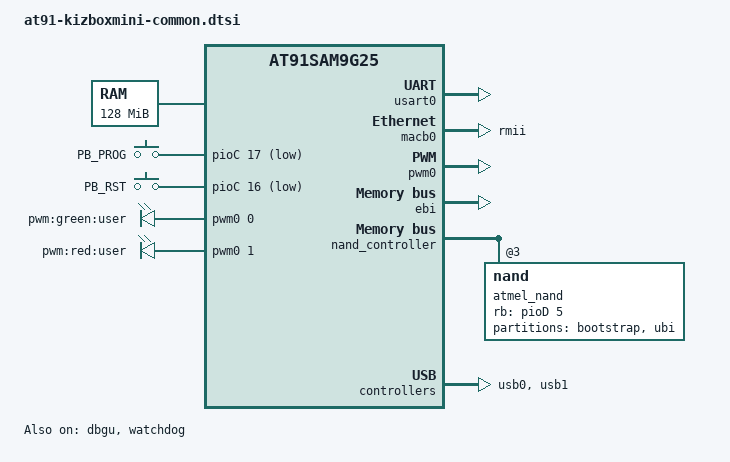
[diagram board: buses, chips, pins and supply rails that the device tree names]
// SPDX-License-Identifier: GPL-2.0
/*
 * at91-kizboxmini.dts - Device Tree file for Overkiz Kizbox mini board
 *
 * Copyright (C) 2014-2018 Overkiz SAS
 *   Author: Antoine Aubert <a.aubert@overkiz.com>
 *           Gaël Portay <g.portay@overkiz.com>
 *           Kévin Raymond <k.raymond@overkiz.com>
 *           Dorian Rocipon <d.rocipon@overkiz.com>
 */
#include "at91sam9g25.dtsi"

/ {
	chosen {
		bootargs = "ubi.mtd=ubi";
		stdout-path = &dbgu;
	};

	memory {
		reg = <0x20000000 0x8000000>;
	};

	clocks {
		main_xtal {
			clock-frequency = <12000000>;
		};

		slow_xtal {
			clock-frequency = <32768>;
		};

		adc_op_clk {
			status = "disabled";
		};
	};

	gpio_keys {
		compatible = "gpio-keys";
		#address-cells = <1>;
		#size-cells = <0>;

		prog {
			label = "PB_PROG";
			gpios = <&pioC 17 GPIO_ACTIVE_LOW>;
			linux,code = <0x102>;
			wakeup-source;
		};

		reset {
			label = "PB_RST";
			gpios = <&pioC 16 GPIO_ACTIVE_LOW>;
			linux,code = <0x100>;
			wakeup-source;
		};
	};

	leds: pwm_leds {
		compatible = "pwm-leds";

		led_blue: pwm_blue {
			label = "pwm:blue:user";
			pwms = <&pwm0 2 10000000 0>;
			max-brightness = <255>;
			linux,default-trigger = "none";
			status = "disabled";
		};

		led_green: pwm_green {
			label = "pwm:green:user";
			pwms = <&pwm0 0 10000000 0>;
			max-brightness = <255>;
			linux,default-trigger = "default-on";
		};

		led_red: pwm_red {
			label = "pwm:red:user";
			pwms = <&pwm0 1 10000000 0>;
			max-brightness = <255>;
			linux,default-trigger = "default-on";
		};
	};
};

&usart0 {
	atmel,use-dma-rx;
	atmel,use-dma-tx;
	status = "okay";
};

&macb0 {
	phy-mode = "rmii";
	status = "okay";
};

&pwm0 {
	pinctrl-names = "default";
	pinctrl-0 = <&pinctrl_pwm0_pwm0_1
		     &pinctrl_pwm0_pwm1_1
		     &pinctrl_pwm0_pwm2_1>;
	status = "okay";
};

&dbgu {
	status = "okay";
};

&watchdog {
	status = "okay";
};

&adc0 {
	status = "disabled";
};

&rtc {
	status = "disabled";
};

&ebi {
	pinctrl-0 = <&pinctrl_ebi_addr_nand
			&pinctrl_ebi_data_0_7>;
	pinctrl-names = "default";
	status = "okay";
};

&nand_controller {
	status = "okay";
	pinctrl-0 = <&pinctrl_nand_oe_we
		     &pinctrl_nand_cs
		     &pinctrl_nand_rb>;
	pinctrl-names = "default";

	nand@3 {
		reg = <0x3 0x0 0x800000>;
		rb-gpios = <&pioD 5 GPIO_ACTIVE_HIGH>;
		cs-gpios = <&pioD 4 GPIO_ACTIVE_HIGH>;
		nand-bus-width = <8>;
		nand-ecc-mode = "hw";
		nand-ecc-strength = <4>;
		nand-ecc-step-size = <512>;
		nand-on-flash-bbt;
		label = "atmel_nand";

		partitions {
			compatible = "fixed-partitions";
			#address-cells = <1>;
			#size-cells = <1>;

			bootstrap@0 {
				label = "bootstrap";
				reg = <0x0 0x20000>;
			};

			ubi@20000 {
				label = "ubi";
				reg = <0x20000 0x7fe0000>;
			};
		};
	};
};

&usb0 {
	num-ports = <1>;
	status = "okay";
};

&usb1 {
	status = "okay";
};

